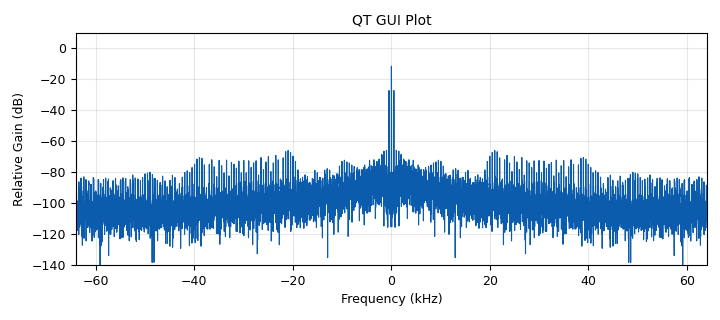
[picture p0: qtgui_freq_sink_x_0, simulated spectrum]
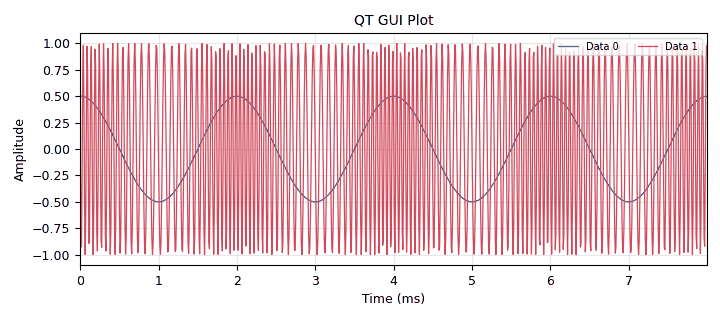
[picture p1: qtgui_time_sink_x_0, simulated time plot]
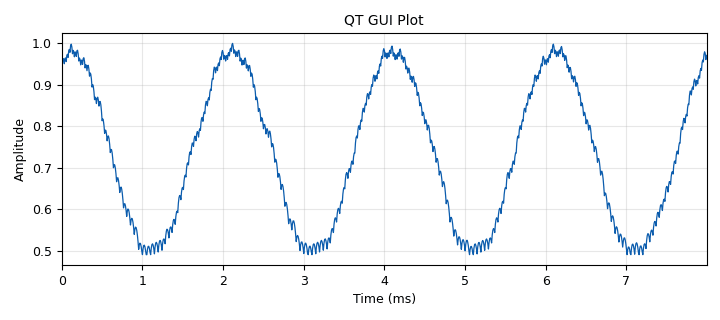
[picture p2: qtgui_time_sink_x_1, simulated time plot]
<?xml version='1.0' encoding='utf-8'?>
<?grc format='1' created='3.7.10'?>
<flow_graph>
<block>
<key>options</key>
<param><key>id</key><value>top_block</value></param>
<param><key>category</key><value>Custom</value></param>
<param><key>generate_options</key><value>qt_gui</value></param>
</block>
<block>
<key>variable_qtgui_range</key>
<param><key>id</key><value>A</value></param>
<param><key>value</key><value>0.5</value></param>
<param><key>label</key><value>amplitude</value></param>
<param><key>orient</key><value>Qt.Horizontal</value></param>
<param><key>start</key><value>0</value></param>
<param><key>step</key><value>0.01</value></param>
<param><key>stop</key><value>1</value></param>
</block>
<block>
<key>variable_qtgui_range</key>
<param><key>id</key><value>F</value></param>
<param><key>value</key><value>500</value></param>
<param><key>label</key><value>frequencia</value></param>
<param><key>orient</key><value>Qt.Horizontal</value></param>
<param><key>start</key><value>0</value></param>
<param><key>step</key><value>100</value></param>
<param><key>stop</key><value>1000</value></param>
</block>
<block>
<key>variable_qtgui_range</key>
<param><key>id</key><value>Fp</value></param>
<param><key>value</key><value>15000</value></param>
<param><key>label</key><value>frequencia da portadora</value></param>
<param><key>orient</key><value>Qt.Horizontal</value></param>
<param><key>start</key><value>10000</value></param>
<param><key>step</key><value>100</value></param>
<param><key>stop</key><value>20000</value></param>
</block>
<block>
<key>variable</key>
<param><key>id</key><value>samp_rate</value></param>
<param><key>value</key><value>32000*4</value></param>
</block>
<block>
<key>analog_pll_freqdet_cf</key>
<param><key>id</key><value>analog_pll_freqdet_cf_0</value></param>
<param><key>w</key><value>3.1416/60</value></param>
<param><key>max_freq</key><value>2*3.1416*30000/samp_rate</value></param>
<param><key>min_freq</key><value>2*3.1416*10000/samp_rate</value></param>
</block>
<block>
<key>analog_sig_source_x</key>
<param><key>id</key><value>analog_sig_source_x_0</value></param>
<param><key>amp</key><value>A</value></param>
<param><key>freq</key><value>F</value></param>
<param><key>offset</key><value>0</value></param>
<param><key>type</key><value>float</value></param>
<param><key>samp_rate</key><value>samp_rate</value></param>
<param><key>waveform</key><value>analog.GR_SIN_WAVE</value></param>
</block>
<block>
<key>blocks_add_const_vxx</key>
<param><key>id</key><value>blocks_add_const_vxx_0</value></param>
<param><key>const</key><value>Fp/10000.0</value></param>
<param><key>type</key><value>float</value></param>
</block>
<block>
<key>blocks_float_to_complex</key>
<param><key>id</key><value>blocks_float_to_complex_0</value></param>
</block>
<block>
<key>blocks_throttle</key>
<param><key>id</key><value>blocks_throttle_0</value></param>
<param><key>samples_per_second</key><value>samp_rate</value></param>
<param><key>type</key><value>float</value></param>
</block>
<block>
<key>blocks_vco_f</key>
<param><key>id</key><value>blocks_vco_f_0</value></param>
<param><key>amplitude</key><value>1</value></param>
<param><key>samp_rate</key><value>samp_rate</value></param>
<param><key>sensitivity</key><value>6.28*10**4</value></param>
</block>
<block>
<key>qtgui_freq_sink_x</key>
<param><key>id</key><value>qtgui_freq_sink_x_0</value></param>
<param><key>bw</key><value>samp_rate</value></param>
<param><key>fc</key><value>0</value></param>
<param><key>fftsize</key><value>1024*15</value></param>
<param><key>name</key><value>QT GUI Plot</value></param>
<param><key>showports</key><value>True</value></param>
<param><key>type</key><value>float</value></param>
<param><key>wintype</key><value>firdes.WIN_BLACKMAN_hARRIS</value></param>
</block>
<block>
<key>qtgui_time_sink_x</key>
<param><key>id</key><value>qtgui_time_sink_x_0</value></param>
<param><key>autoscale</key><value>True</value></param>
<param><key>color1</key><value>"blue"</value></param>
<param><key>label1</key><value></value></param>
<param><key>color2</key><value>"red"</value></param>
<param><key>label2</key><value></value></param>
<param><key>name</key><value>QT GUI Plot</value></param>
<param><key>nconnections</key><value>2</value></param>
<param><key>size</key><value>1024</value></param>
<param><key>srate</key><value>samp_rate</value></param>
<param><key>type</key><value>float</value></param>
</block>
<block>
<key>qtgui_time_sink_x</key>
<param><key>id</key><value>qtgui_time_sink_x_1</value></param>
<param><key>autoscale</key><value>True</value></param>
<param><key>color1</key><value>"blue"</value></param>
<param><key>label1</key><value></value></param>
<param><key>name</key><value>QT GUI Plot</value></param>
<param><key>size</key><value>1024</value></param>
<param><key>srate</key><value>samp_rate</value></param>
<param><key>type</key><value>float</value></param>
</block>
<connection><source_block_id>analog_pll_freqdet_cf_0</source_block_id><sink_block_id>qtgui_freq_sink_x_0</sink_block_id><source_key>0</source_key><sink_key>0</sink_key></connection>
<connection><source_block_id>analog_pll_freqdet_cf_0</source_block_id><sink_block_id>qtgui_time_sink_x_1</sink_block_id><source_key>0</source_key><sink_key>0</sink_key></connection>
<connection><source_block_id>analog_sig_source_x_0</source_block_id><sink_block_id>blocks_throttle_0</sink_block_id><source_key>0</source_key><sink_key>0</sink_key></connection>
<connection><source_block_id>analog_sig_source_x_0</source_block_id><sink_block_id>qtgui_time_sink_x_0</sink_block_id><source_key>0</source_key><sink_key>0</sink_key></connection>
<connection><source_block_id>blocks_add_const_vxx_0</source_block_id><sink_block_id>blocks_vco_f_0</sink_block_id><source_key>0</source_key><sink_key>0</sink_key></connection>
<connection><source_block_id>blocks_float_to_complex_0</source_block_id><sink_block_id>analog_pll_freqdet_cf_0</sink_block_id><source_key>0</source_key><sink_key>0</sink_key></connection>
<connection><source_block_id>blocks_throttle_0</source_block_id><sink_block_id>blocks_add_const_vxx_0</sink_block_id><source_key>0</source_key><sink_key>0</sink_key></connection>
<connection><source_block_id>blocks_vco_f_0</source_block_id><sink_block_id>blocks_float_to_complex_0</sink_block_id><source_key>0</source_key><sink_key>0</sink_key></connection>
<connection><source_block_id>blocks_vco_f_0</source_block_id><sink_block_id>qtgui_time_sink_x_0</sink_block_id><source_key>0</source_key><sink_key>1</sink_key></connection>
</flow_graph>
